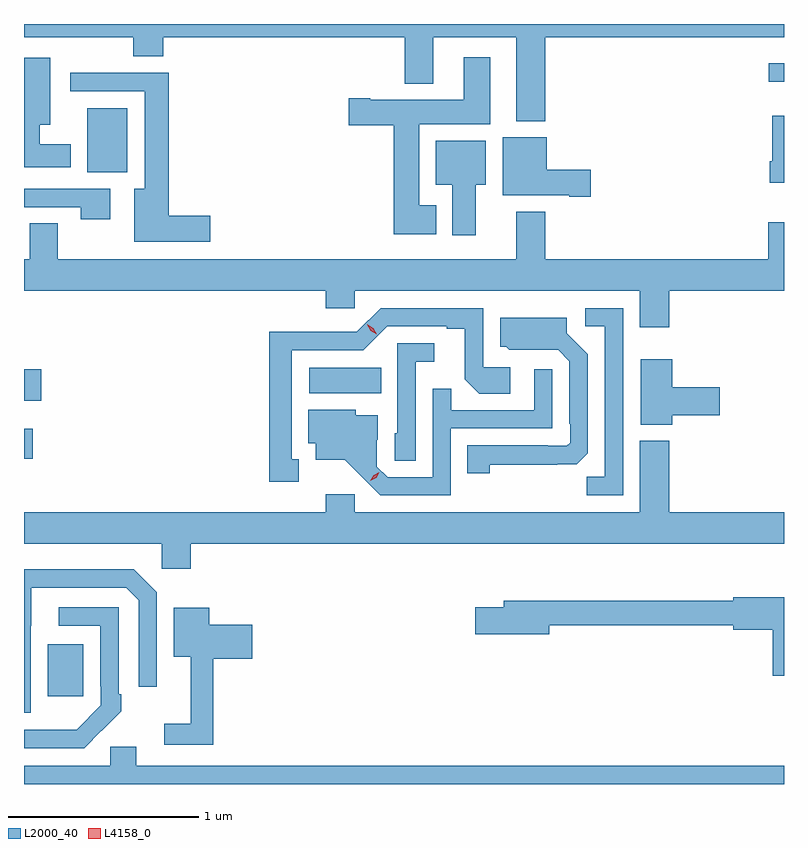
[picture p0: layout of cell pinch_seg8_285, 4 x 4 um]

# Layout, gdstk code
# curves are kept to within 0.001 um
import gdstk
lib = gdstk.Library(unit=1e-6, precision=1e-09)
def R(c, l, rs):  # rectangles x0, y0, x1, y1
    for r in rs: c.add(gdstk.rectangle(r[:2], r[2:], *l))
def P(c, l, *ps):  # polygons
    for p in ps: c.add(gdstk.Polygon(p, *l))
L2000_40 = (2000, 40)
L4158_0 = (4158, 0)

pinch_seg8_285 = lib.new_cell('pinch_seg8_285')
R(pinch_seg8_285, L2000_40, [(526.055,1147.665,526.243,1147.939), (525.93,1148.915,525.976,1149.073), (525.93,1149.221,526.021,1149.387), (527.43,1149.26,527.81,1149.394), (526.262,1150.424,526.474,1150.759), (529.851,1150.899,529.93,1150.996)])
P(pinch_seg8_285, L2000_40, [(525.93,1151.132),(526.504,1151.132),(526.504,1151.033),(526.664,1151.033),(526.664,1151.132),(527.933,1151.132),(527.933,1150.889),(528.085,1150.889),(528.085,1151.132),(528.521,1151.132),(528.521,1150.691),(528.674,1150.691),(528.674,1151.132),(529.93,1151.132),(529.93,1151.203),(525.93,1151.203)],
  [(528.1,1150.249),(528.01,1150.249),(528.01,1150.676),(528.385,1150.676),(528.385,1151.029),(528.245,1151.029),(528.245,1150.804),(527.752,1150.804),(527.752,1150.812),(527.64,1150.812),(527.64,1150.67),(527.876,1150.67),(527.876,1150.097),(528.1,1150.097)],
  [(526.177,1150.57),(526.012,1150.57),(526.012,1150.673),(526.069,1150.673),(526.069,1151.026),(525.93,1151.026),(525.93,1150.448),(526.177,1150.448)],
  [(526.909,1150.193),(526.691,1150.193),(526.691,1150.946),(526.173,1150.946),(526.173,1150.848),(526.565,1150.848),(526.565,1150.336),(526.511,1150.336),(526.511,1150.058),(526.909,1150.058)],
  [(529.93,1150.72),(529.868,1150.72),(529.868,1150.48),(529.856,1150.48),(529.856,1150.368),(529.93,1150.368)],
  [(528.913,1150.436),(528.682,1150.436),(528.682,1150.606),(528.449,1150.606),(528.449,1150.301),(528.8,1150.301),(528.8,1150.294),(528.913,1150.294)],
  [(528.307,1150.358),(528.361,1150.358),(528.361,1150.588),(528.098,1150.588),(528.098,1150.358),(528.185,1150.358),(528.185,1150.092),(528.307,1150.092)],
  [(526.384,1150.335),(525.93,1150.335),(525.93,1150.239),(526.228,1150.239),(526.228,1150.176),(526.384,1150.176)],
  [(529.325,1149.8),(529.93,1149.8),(529.93,1150.159),(529.847,1150.159),(529.847,1149.964),(528.674,1149.964),(528.674,1150.216),(528.521,1150.216),(528.521,1149.964),(526.107,1149.964),(526.107,1150.154),(525.959,1150.154),(525.959,1149.964),(525.93,1149.964),(525.93,1149.8),(527.519,1149.8),(527.519,1149.707),(527.67,1149.707),(527.67,1149.8),(529.172,1149.8),(529.172,1149.606),(529.325,1149.606)],
  [(529.083,1149.708),(528.885,1149.708),(528.885,1149.612),(528.987,1149.612),(528.987,1148.819),(528.892,1148.819),(528.892,1148.724),(529.083,1148.724)],
  [(527.377,1148.913),(527.338,1148.913),(527.338,1149.486),(527.715,1149.486),(527.841,1149.612),(528.155,1149.612),(528.155,1149.6),(528.249,1149.6),(528.249,1149.332),(528.325,1149.256),(528.49,1149.256),(528.49,1149.396),(528.348,1149.396),(528.348,1149.708),(527.808,1149.708),(527.682,1149.582),(527.46,1149.582),(527.46,1149.584),(527.22,1149.584),(527.22,1148.793),(527.377,1148.793)],
  [(528.381,1148.884),(528.838,1148.885),(528.897,1148.944),(528.897,1149.466),(528.787,1149.576),(528.787,1149.658),(528.437,1149.658),(528.437,1149.504),(528.468,1149.504),(528.484,1149.488),(528.741,1149.489),(528.801,1149.429),(528.801,1149.1),(528.804,1149.1),(528.804,1149),(528.786,1148.982),(528.686,1148.982),(528.686,1148.985),(528.262,1148.985),(528.262,1148.838),(528.381,1148.838)],
  [(527.991,1149.425),(528.088,1149.425),(528.088,1149.522),(527.895,1149.522),(527.895,1149.048),(527.88,1149.048),(527.88,1148.905),(527.991,1148.905)],
  [(529.342,1149.143),(529.591,1149.143),(529.591,1149.29),(529.342,1149.29),(529.342,1149.439),(529.175,1149.439),(529.175,1149.095),(529.342,1149.095)],
  [(528.177,1149.075),(528.711,1149.075),(528.711,1149.385),(528.615,1149.385),(528.615,1149.171),(528.179,1149.171),(528.179,1149.284),(528.081,1149.284),(528.081,1148.817),(527.844,1148.817),(527.787,1148.874),(527.787,1149.016),(527.791,1149.016),(527.791,1149.145),(527.676,1149.145),(527.676,1149.172),(527.426,1149.172),(527.426,1148.996),(527.465,1148.996),(527.465,1148.909),(527.617,1148.909),(527.804,1148.724),(528.177,1148.724)],
  [(526.808,1148.468),(529.93,1148.468),(529.93,1148.632),(529.325,1148.632),(529.325,1149.01),(529.172,1149.01),(529.172,1148.632),(527.67,1148.632),(527.67,1148.728),(527.519,1148.728),(527.519,1148.632),(525.93,1148.632),(525.93,1148.468),(526.656,1148.468),(526.656,1148.337),(526.808,1148.337)],
  [(525.966,1148.035),(525.967,1148.035),(525.967,1148.235),(526.467,1148.235),(526.533,1148.169),(526.533,1147.716),(526.629,1147.716),(526.629,1148.211),(526.508,1148.332),(525.93,1148.332),(525.93,1147.578),(525.966,1147.578)],
  [(529.93,1148.185),(529.664,1148.185),(529.664,1148.167),(528.455,1148.167),(528.455,1148.133),(528.306,1148.133),(528.306,1147.991),(528.694,1147.991),(528.694,1148.038),(529.664,1148.038),(529.664,1148.015),(529.871,1148.015),(529.871,1147.772),(529.93,1147.772)],
  [(526.337,1147.483),(526.338,1147.482),(526.443,1147.587),(526.443,1147.675),(526.428,1147.675),(526.428,1148.133),(526.113,1148.133),(526.113,1148.037),(526.332,1148.037),(526.332,1147.717),(526.335,1147.717),(526.335,1147.617),(526.207,1147.489),(525.93,1147.488),(525.93,1147.392),(526.246,1147.392)],
  [(526.925,1147.862),(527.131,1147.862),(527.131,1148.04),(526.906,1148.04),(526.906,1148.131),(526.718,1148.131),(526.718,1147.874),(526.808,1147.874),(526.808,1147.519),(526.668,1147.519),(526.668,1147.41),(526.925,1147.41)],
  [(529.93,1147.3),(526.522,1147.3),(526.522,1147.398),(526.383,1147.398),(526.383,1147.3),(525.93,1147.3),(525.93,1147.203),(529.93,1147.203)])
P(pinch_seg8_285, L4158_0, [(527.752,1148.799),(527.752,1148.799),(527.77,1148.829),(527.801,1148.844),(527.801,1148.844),(527.801,1148.843),(527.784,1148.814),(527.753,1148.799)],
  [(527.786,1149.571),(527.754,1149.589),(527.736,1149.621),(527.736,1149.622),(527.736,1149.622),(527.768,1149.603),(527.787,1149.571),(527.787,1149.571)])

lib.write_gds('pinch_seg8_285.gds')
